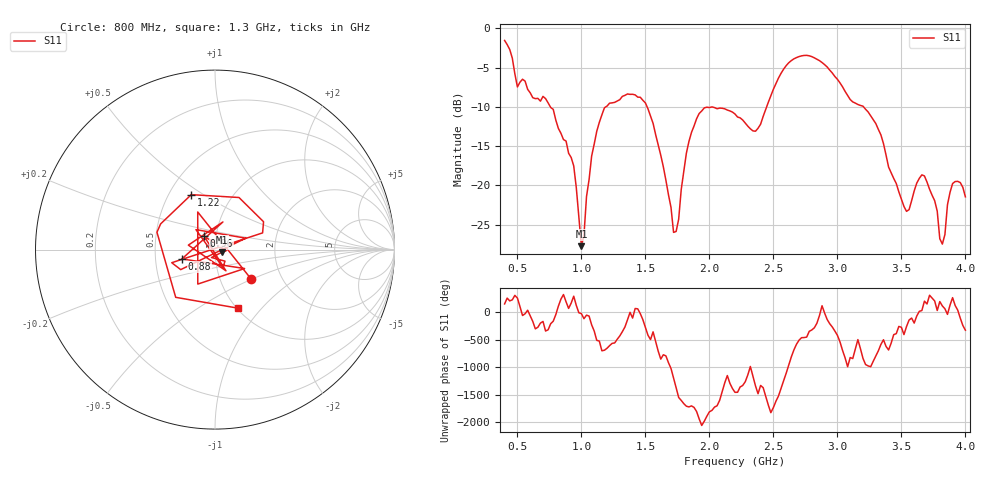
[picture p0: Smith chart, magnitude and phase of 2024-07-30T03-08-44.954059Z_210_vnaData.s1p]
!Created with skrf (http://scikit-rf.org).
# Hz S RI R 50.0
!freq ReS11 ImS11
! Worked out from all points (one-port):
!   181 points, 400 MHz to 4 GHz, reference 50 ohm
!   lowest |S11| = -27.7 dB at 1 GHz (marker M1), VSWR 1.09, Z = 54 - j1.62 ohm
!   |S11| at or under -10 dB: 757.2 MHz to 1.191 GHz (434.2 MHz wide, 44.6 % of centre); 1.513 GHz to 2.447 GHz (934.1 MHz wide, 47.2 % of centre); 3.204 GHz to end of sweep
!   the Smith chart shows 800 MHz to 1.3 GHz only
!   S11 on the Smith chart (normalised r, x): 800 MHz: 1.40, -0.50; 880 MHz: 0.69, -0.07; 960 MHz: 0.88, +0.13; 1.22 GHz: 0.65, +0.45; 1.3 GHz: 1.01, -0.76
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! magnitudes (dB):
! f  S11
! 400 MHz  -1.6
! 500 MHz  -7.5
! 800 MHz  -11.7
! 860 MHz  -14.2
! 880 MHz  -14.4
! 960 MHz  -20.3
! 1 GHz  -27.7
! 1.08 GHz  -16.3
! 1.22 GHz  -9.5
! 1.3 GHz  -9.1
! 1.5 GHz  -9.5
! 1.64 GHz  -17.6
! 1.72 GHz  -26.0
! 1.76 GHz  -24.3
! 1.82 GHz  -15.9
! 1.92 GHz  -10.8
! 2.2 GHz  -10.9
! 2.36 GHz  -13.1
! 2.66 GHz  -3.9
! 2.86 GHz  -4.1
! 3.1 GHz  -9.1
! 3.3 GHz  -12.1
! 3.56 GHz  -23.1
! 3.68 GHz  -18.8
! 3.76 GHz  -21.9
! 3.82 GHz  -27.5
! 3.9 GHz  -19.8
! 4 GHz  -21.5
